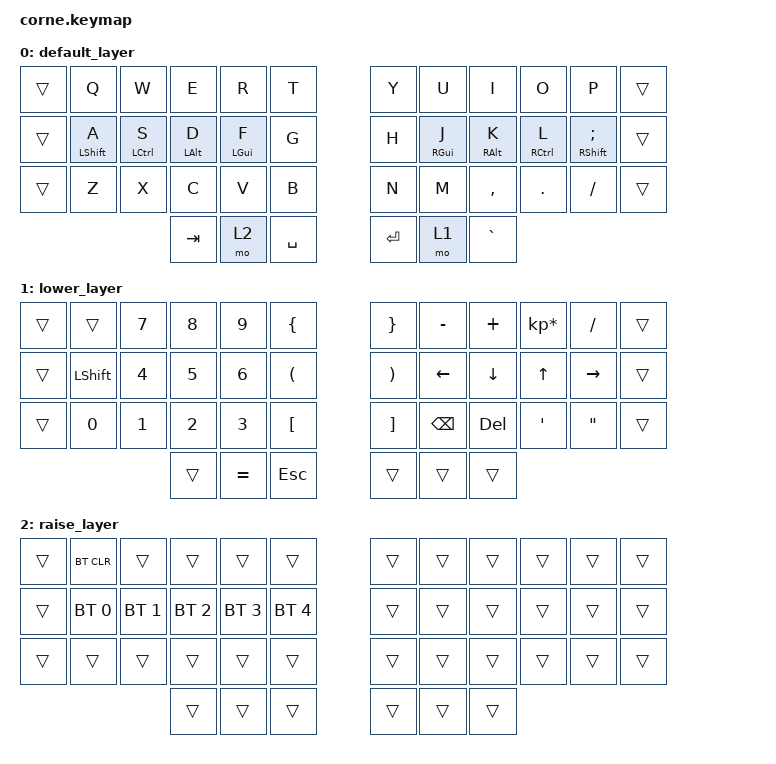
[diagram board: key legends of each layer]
/*
 * Copyright (c) 2020 The ZMK Contributors
 *
 * SPDX-License-Identifier: MIT
 */

#include <behaviors.dtsi>
#include <dt-bindings/zmk/keys.h>
#include <dt-bindings/zmk/bt.h>

/ {
        keymap {
                compatible = "zmk,keymap";

                default_layer {
// -----------------------------------------------------------------------------------------
// | --- |  Q  |  W  |  E  |  R  |  T  |   |  Y  |  U   |  I  |  O  |  P  | --- |
// | --- | sA  | cS  | aD  | gF  |  G  |   |  H  | gJ   | aK  | cL  | s;  | --- |
// | --- |  Z  |  X  |  C  |  V  |  B  |   |  N  |  M   |  ,  |  .  |  /  | --- |
//                   | TAB | RSE | SPC |   | ENT | LWR  |  `  |
                        bindings = <
   &trans &kp Q        &kp W      &kp E      &kp R      &kp T       &kp Y &kp U       &kp I      &kp O      &kp P           &trans
   &trans &mt LSHIFT A &mt LCTL S &mt LALT D &mt LGUI F &kp G       &kp H &mt RGUI J  &mt RALT K &mt RCTL L &mt RSHIFT SEMI &trans
   &trans &kp Z        &kp X      &kp C      &kp V      &kp B       &kp N &kp M       &kp COMMA  &kp DOT    &kp FSLH        &trans
                                  &kp TAB    &mo 2      &kp SPACE   &kp RET           &mo 1      &kp GRAVE
                        >;
                };
                lower_layer {

// -----------------------------------------------------------------------------------------
// New Lower
// |  --- |     |  7  |  8  |  9  |  {  |   |  }  |  -  |  +  |  *  |  /  | --- |
// |  --- | SHFT|  4  |  5  |  6  |  (  |   |  )  | aL  | aD  | aU  | aR  | --- |
// |  --- |  0  |  1  |  2  |  3  |  [  |   |  ]  | BSP | DEL |  '  |  "  | --- |
// |  --- |     |     | --- |  =  | ESC |   | --- | --- | --- |     |     | --- |
// -----------------------------------------------------------------------------------------
// |  TAB |  1  |  2  |  3  |  4  |  5  |   |  6  |  7  |  8  |  9  |  0  | BKSP |
// | BTCLR| BT1 | BT2 | BT3 | BT4 | BT5 |   | LFT | DWN |  UP | RGT |     |      |
// | SHFT | mup | mdn |     |     |     |   |     |     |     |     |     |      |
//                    | GUI |     | SPC |   | ENT |     | ALT |

   //&kp TAB    &kp N1       &kp N2       &kp N3       &kp N4       &kp N5         &kp N6   &kp N7   &kp N8 &kp N9    &kp N0 &kp BSPC
   //&bt BT_CLR &bt BT_SEL 0 &bt BT_SEL 1 &bt BT_SEL 2 &bt BT_SEL 3 &bt BT_SEL 4   &kp LEFT &kp DOWN &kp UP &kp RIGHT &trans &trans
   //&kp LSHFT  &trans       &trans       &trans       &trans       &trans         &trans   &trans   &trans &trans    &trans &trans
   //                                     &kp LGUI     &trans       &kp SPACE      &kp RET  &trans   &kp RALT


                        bindings = <
   &trans &trans    &kp N7 &kp N8 &kp N9    &kp LBRC    &kp RBRC &kp MINUS &kp PLUS &kp KP_MULTIPLY &kp FSLH  &trans
   &trans &kp LSHFT &kp N4 &kp N5 &kp N6    &kp LPAR    &kp RPAR &kp LEFT  &kp DOWN &kp UP          &kp RIGHT &trans
   &trans &kp N0    &kp N1 &kp N2 &kp N3    &kp LBKT    &kp RBKT &kp BSPC  &kp DEL  &kp SQT         &kp DQT   &trans
                           &trans &kp EQUAL &kp ESC     &trans   &trans    &trans
                        >;
                };

                raise_layer {
// -----------------------------------------------------------------------------------------
// |  TAB |  !  |  @  |  #  |  $  |  %  |   |  ^  |  &  |  *  |  (  |  )  | BKSP |
// | CTRL |     |     |     |     |     |   |  -  |  =  |  [  |  ]  |  \  |  `   |
// | SHFT |     |     |     |     |     |   |  _  |  +  |  {  |  }  | "|" |  ~   |
//                    | GUI |     | SPC |   | ENT |     | ALT |
                        bindings = <

   &trans &bt BT_CLR   &trans       &trans       &trans       &trans         &trans &trans &trans &trans &trans &trans 
   &trans &bt BT_SEL 0 &bt BT_SEL 1 &bt BT_SEL 2 &bt BT_SEL 3 &bt BT_SEL 4   &trans &trans &trans &trans &trans &trans
   &trans &trans       &trans       &trans       &trans       &trans         &trans &trans &trans &trans &trans &trans
                                    &trans       &trans       &trans         &trans &trans &trans


   //&kp  TAB  &kp EXCL &kp AT &kp HASH &kp DLLR &kp PRCNT   &kp CARET &kp AMPS  &kp KP_MULTIPLY &kp LPAR &kp RPAR &kp BSPC
   //&kp LCTRL &trans   &trans &trans   &trans   &trans      &kp MINUS &kp EQUAL &kp LBKT        &kp RBKT &kp BSLH &kp GRAVE
   //&kp LSHFT &trans   &trans &trans   &trans   &trans      &kp UNDER &kp PLUS  &kp LBRC        &kp RBRC &kp PIPE &kp TILDE
   //                          &kp LGUI &trans   &kp SPACE   &kp RET   &trans    &kp RALT
                        >;
                };
        };
};
